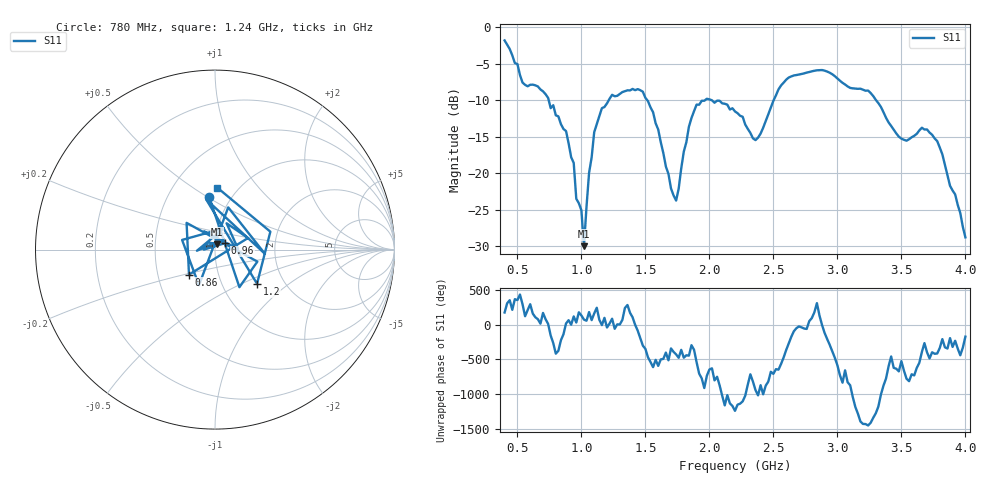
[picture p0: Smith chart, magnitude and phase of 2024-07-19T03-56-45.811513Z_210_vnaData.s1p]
!Created with skrf (http://scikit-rf.org).
# Hz S RI R 50.0
!freq ReS11 ImS11
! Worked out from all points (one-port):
!   181 points, 400 MHz to 4 GHz, reference 50 ohm
!   lowest |S11| = -30.0 dB at 1.02 GHz (marker M1), VSWR 1.07, Z = 50.8 + j3.1 ohm
!   |S11| at or under -10 dB: 744.7 MHz to 1.213 GHz (468.4 MHz wide, 47.9 % of centre); 2.02 GHz to 2.502 GHz (481.6 MHz wide, 21.3 % of centre); 3.303 GHz to end of sweep (the widest 3 of 4)
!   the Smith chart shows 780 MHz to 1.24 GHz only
!   S11 on the Smith chart (normalised r, x): 780 MHz: 0.80, +0.51; 860 MHz: 0.72, -0.21; 960 MHz: 1.12, +0.08; 1.2 GHz: 1.46, -0.61; 1.24 GHz: 0.81, +0.63
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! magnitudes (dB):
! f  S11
! 400 MHz  -1.8
! 540 MHz  -7.6
! 780 MHz  -10.7
! 860 MHz  -13.9
! 940 MHz  -18.6
! 960 MHz  -23.5
! 1 GHz  -25.1
! 1.02 GHz  -30.0
! 1.06 GHz  -19.9
! 1.1 GHz  -14.4
! 1.2 GHz  -10.4
! 1.24 GHz  -9.2
! 1.3 GHz  -9.1
! 1.48 GHz  -8.8
! 1.6 GHz  -14.0
! 1.72 GHz  -23.0
! 1.76 GHz  -22.1
! 1.84 GHz  -13.6
! 1.9 GHz  -10.6
! 2.2 GHz  -11.5
! 2.36 GHz  -15.5
! 2.66 GHz  -6.6
! 3.1 GHz  -8.3
! 3.24 GHz  -8.7
! 3.56 GHz  -15.3
! 3.66 GHz  -13.8
! 3.78 GHz  -15.6
! 4 GHz  -28.8
